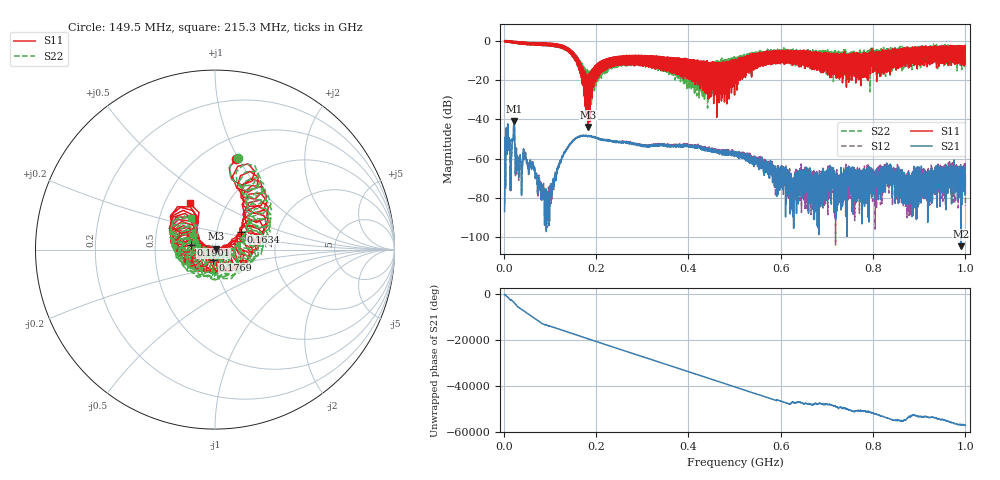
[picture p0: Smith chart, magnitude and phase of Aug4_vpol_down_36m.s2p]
!Keysight Technologies N9923A: A.12.45
!Date: Tuesday, 05 August 2025 21:00:46
!Timezone: (UTC+08:00) Kuala Lumpur, Singapore
!Model: N9923A
!Serial: MY61181427
!GPS Latitude:
!GPS Longitude:
!GPS TimeStamp: 0001-01-01 00:00:00Z
!GPS Seconds Since Last Read: 0
!CHECKSUM:1177001272
!Correction: S11(ON U)S21(ON U)S12(ON U)S22(ON U)
!S2P File: Measurements:S11,S21,S12,S22:
# Hz S DB R 50
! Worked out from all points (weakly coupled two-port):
!   4001 points, 2 MHz to 1 GHz, reference 50 ohm
!   highest |S21| = -40.86 dB at 22.71 MHz (marker M1); lowest = -104.5 dB at 990.8 MHz (marker M2)
!   lowest |S11| = -43.8 dB at 183.1 MHz (marker M3), VSWR 1.01, Z = 50.4 + j0.524 ohm
!   |S11| at or under -10 dB: 162.8 MHz to 213.8 MHz (51.03 MHz wide, 27.1 % of centre); 412.3 MHz to 417.1 MHz (4.875 MHz wide, 1.18 % of centre); 420.7 MHz to 494 MHz (73.31 MHz wide, 16 % of centre)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
!   |S22| runs from -34.3 to 0.1 dB; largest |S21 - S12| = 0.0011
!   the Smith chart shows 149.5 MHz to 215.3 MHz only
!   S11 on the Smith chart (normalised r, x): 149.5 MHz: 0.71, +0.97; 163.4 MHz: 1.31, +0.27; 176.9 MHz: 0.97, -0.11; 190.1 MHz: 0.76, +0.04; 215.3 MHz: 0.67, +0.38
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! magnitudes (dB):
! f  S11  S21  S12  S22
! 2 MHz  -0.1  -86.9  -82.6  -0.1
! 7.988 MHz  -0.2  -52.6  -52.7  -0.2
! 22.71 MHz  -1.3  -40.9  -40.8  -1.2
! 29.69 MHz  -0.9  -59.1  -58.8  -1.0
! 46.66 MHz  -1.0  -58.6  -57.6  -1.1
! 93.32 MHz  -2.4  -81.2  -80.4  -2.6
! 149.5 MHz  -5.7  -51.0  -51.0  -5.6
! 163.4 MHz  -15.1  -48.9  -48.8  -13.3
! 168.4 MHz  -19.0  -48.5  -48.3  -16.7
! 176.9 MHz  -25.0  -48.3  -48.2  -25.2
! 183.1 MHz  -43.8  -48.6  -48.5  -22.9
! 190.1 MHz  -17.3  -48.6  -48.6  -22.4
! 215.3 MHz  -10.6  -50.8  -50.3  -13.2
! 334.8 MHz  -8.0  -53.0  -52.8  -9.8
! 445.1 MHz  -17.0  -56.2  -54.5  -21.5
! 501 MHz  -9.9  -58.1  -57.2  -8.9
! 627.2 MHz  -7.5  -81.2  -78.8  -4.3
! 667.4 MHz  -6.2  -69.5  -68.3  -6.1
! 833.8 MHz  -5.9  -66.3  -65.8  -12.8
! 876.7 MHz  -8.8  -73.8  -86.0  -2.8
! 990.8 MHz  -2.7  -104.5  -65.1  -5.8
! 1 GHz  -11.8  -70.0  -84.1  -4.2
